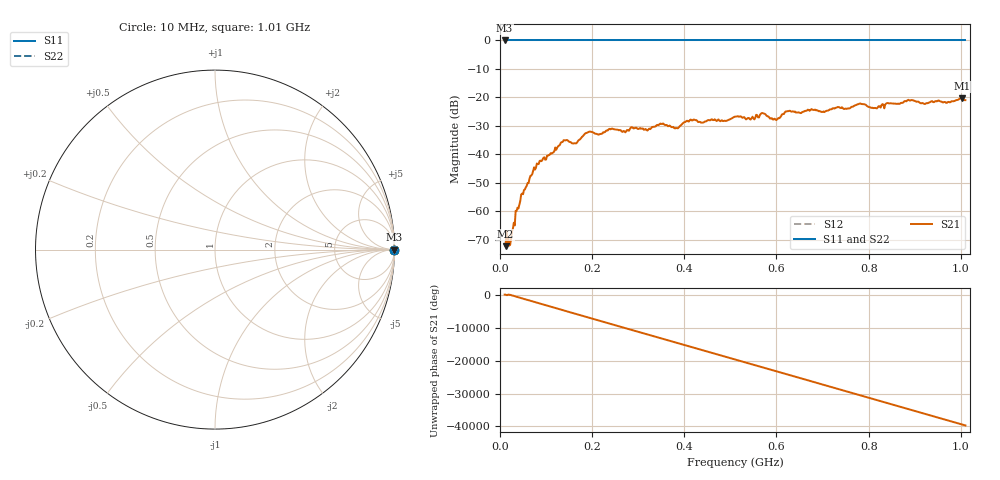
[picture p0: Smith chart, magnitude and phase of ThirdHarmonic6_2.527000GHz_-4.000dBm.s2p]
! 8/17/2025 5:00:46 AM
! C:\ANRITSUVNA\TEMP\TEMP.S2P
! CHANNEL.1
! TR.MEASUREMENT
! RAW.DATA
! RF.CORRECTION.OFF
! AVERAGING.OFF
! IF.BANDWIDTH: 5KHZ
! SWEEPTYPE:  FREQ.SWEEP(Linear)
! Reference Plane Port Info
! PORT:  PORT1  PORT2
! DISTANCE:  0  m  0  m
! TIME:  0  s  0  s
! PHASE.OFFSET:  0  deg.  0  deg.
! LOSS:  0  dB  0  dB
! REF.LOSS:  0  dB  0  dB
! REF.FREQ:  0  Hz  0  Hz
! Power Info
! POWER:  -20  dBm  -20  dBm
! EFF.POWER:  -20  dBm  -20  dBm
! SOURCE.ATTEN:  0  dB  0  dB
! TEST.ATTEN:  0  dB  0  dB
# GHZ S RI R 50.0
! FREQ.GHZ  S11RE  S11IM  S21RE  S21IM  S12RE  S12IM  S22RE  S22IM
!; PortSelection: Port_12
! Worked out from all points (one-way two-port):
!   501 points, 10 MHz to 1.01 GHz, reference 50 ohm
!   highest |S21| = -20.39 dB at 1.002 GHz (marker M1); lowest = -72.3 dB at 12 MHz (marker M2)
!   lowest |S11| = 0.0 dB at 10 MHz (marker M3)
!   |S11| at or under -10 dB: nowhere
!   |S22| runs from 0.0 to 0.0 dB; largest |S21 - S12| = 1.1
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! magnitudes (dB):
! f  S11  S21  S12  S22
! 10 MHz  0.0  -71.5  0.0  0.0
! 12 MHz  0.0  -72.3  0.0  0.0
! 20 MHz  0.0  -72.1  0.0  0.0
! 48 MHz  0.0  -53.8  0.0  0.0
! 84 MHz  0.0  -43.4  0.0  0.0
! 136 MHz  0.0  -35.7  0.0  0.0
! 162 MHz  0.0  -36.1  0.0  0.0
! 178 MHz  0.0  -33.9  0.0  0.0
! 194 MHz  0.0  -32.0  0.0  0.0
! 322 MHz  0.0  -31.3  0.0  0.0
! 344 MHz  0.0  -29.8  0.0  0.0
! 382 MHz  0.0  -30.8  0.0  0.0
! 416 MHz  0.0  -28.1  0.0  0.0
! 510 MHz  0.0  -26.8  0.0  0.0
! 548 MHz  0.0  -26.8  0.0  0.0
! 570 MHz  0.0  -25.5  0.0  0.0
! 596 MHz  0.0  -27.5  0.0  0.0
! 624 MHz  0.0  -24.8  0.0  0.0
! 678 MHz  0.0  -24.3  0.0  0.0
! 844 MHz  0.0  -22.1  0.0  0.0
! 1.002 GHz  0.0  -20.4  0.0  0.0
! 1.01 GHz  0.0  -21.0  0.0  0.0
